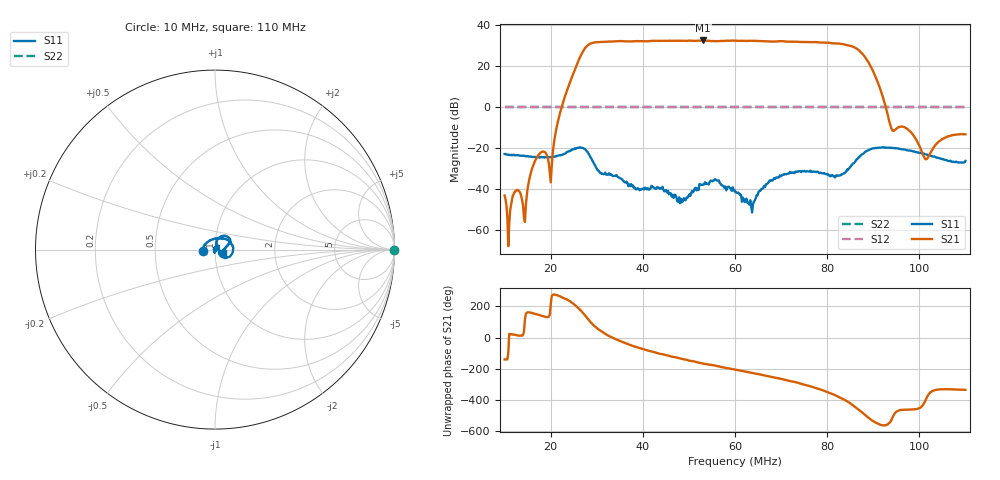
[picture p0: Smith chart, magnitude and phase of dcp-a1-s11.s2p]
! Anritsu VNA Master:  Model: MS2034B/10/19/501
! SN:  1337062
! /bd0/ovro-jan-2016/dcp-a1-s11.s2p
! Existing Calibration Information:
! TYPE:  Current Settings,  Active Cal Settings
! TIME:  01/10/2016 03:21:47 PM,  01/10/2016 03:13:30 PM
! INTERNAL TEMP:  44.0 C,  45.8 C
! # POINTS:  500,  500
! START FREQ:  10.000 MHz,  10.000 MHz
! STOP FREQ:  110.000 MHz,  110.000 MHz
! SOURCE POWER:  Low,  Low
! IFBW:  100 Hz,  100 Hz
! AVG FACTOR:  3 ,  3
! REF PLANE 1:  2.2245 m,  2.2245 m
! REF PLANE 2:  0 mm,  0 mm
! CAL TYPE:  1P2P S11,S21,  1P2P S11,S21
! CAL METHOD:  SOLT,  SOLT
! CAL LINE TYPE:  Coax,  Coax
! DUT PORT 1:  K-Conn(M),  K-Conn(M)
! DUT PORT 2:  N-Conn(M),  N-Conn(M)
! CAL STATUS:  OK: Accuracy High,  --
# GHZ S DB R 50.0
! FREQ.GHZ  S11DB  S11A  S21DB  S21A  S12DB  S12A  S22DB  S22A
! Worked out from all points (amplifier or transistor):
!   500 points, 10 MHz to 110 MHz, reference 50 ohm
!   highest |S21| = 32.4 dB at 53.09 MHz (marker M1)
!   |S21| within 3 dB of that: 27.75 MHz to 85.54 MHz (57.79 MHz wide, 102 % of centre)
!   unconditionally stable (mu >= 1): nowhere
!   at 26.63 MHz: K = 9.55, MSG = 12.8 dB, |S12| = 0.0 dB
!   at 60.1 MHz: K = 20.61, MSG = 16.2 dB, |S12| = 0.0 dB
!   at 110 MHz: K = 0.08, MSG = -6.7 dB, |S12| = 0.0 dB
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0.01  -23.08 -171.4  -43.32 -139.5  0.00 0.0  0.00 0.0
0.02342685  -22.23 54.2  7.17 -113.2  0.00 0.0  0.00 0.0
0.02563126  -20.14 18.4  20.39 -159.9  0.00 0.0  0.00 0.0
0.02683367  -20.04 -9.9  26.41 165.0  0.00 0.0  0.00 0.0
0.02783567  -21.75 -31.5  29.67 128.8  0.00 0.0  0.00 0.0
0.02923848  -27.00 -48.9  31.34 81.7  0.00 0.0  0.00 0.0
0.03124249  -32.72 -20.3  31.72 35.8  0.00 0.0  0.00 0.0
0.03324649  -33.28 -0.4  31.90 2.5  0.00 0.0  0.00 0.0
0.03805611  -39.59 38.4  32.02 -55.2  0.00 0.0  0.00 0.0
0.04346693  -39.47 110.0  32.18 -101.3  0.00 0.0  0.00 0.0
0.04827655  -44.88 177.9  32.34 -135.0  0.00 0.0  0.00 0.0
0.05308617  -38.04 -101.9  32.44 -166.5  0.00 0.0  0.00 0.0
0.0601002  -41.76 -81.2  32.30 155.2  0.00 0.0  0.00 0.0
0.06991984  -33.90 57.4  32.07 97.1  0.00 0.0  0.00 0.0
0.07673347  -31.78 40.5  31.61 44.2  0.00 0.0  0.00 0.0
0.08174349  -34.43 47.6  30.94 -8.9  0.00 0.0  0.00 0.0
0.08354709  -32.56 65.3  30.56 -34.7  0.00 0.0  0.00 0.0
0.0853507  -28.42 76.9  29.63 -67.7  0.00 0.0  0.00 0.0
0.08815631  -22.18 67.6  24.52 -133.4  0.00 0.0  0.00 0.0
0.09016032  -20.28 51.0  16.46 -178.3  0.00 0.0  0.00 0.0
0.09336673  -20.00 33.5  -6.11 171.6  0.00 0.0  0.00 0.0
0.11  -26.45 -24.1  -13.41 25.8  0.00 0.0  0.00 0.0
